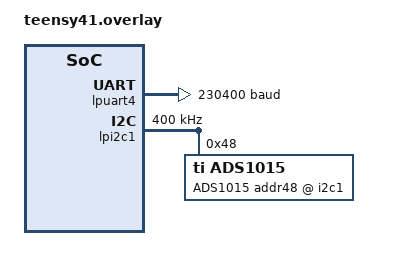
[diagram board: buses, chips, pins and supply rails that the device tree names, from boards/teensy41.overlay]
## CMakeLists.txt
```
# Author: Hyunseo Park
#
# Description:
#
cmake_minimum_required(VERSION 3.20.0)

find_package(Zephyr REQUIRED HINTS $ENV{ZEPHYR_BASE})
project(pcu VERSION 0.0.0)

zephyr_library_link_libraries(kernel)

#project(app LANGUAGES C VERSION 1.0.0)

# if we want separate directory for .hpp
#target_include_directories(app PRIVATE ${CMAKE_BINARY_DIR}/app/include src)

# Entry point
target_sources(app PRIVATE src/main.cpp)

# Subdirectories
# add_subdirectory(src/common)
```

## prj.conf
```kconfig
## Project Musts
CONFIG_CPP=y
## Enabled Zephyr features
## Events 
CONFIG_EVENTS=y
CONFIG_GPIO=y
CONFIG_CAN=y
CONFIG_TEST_RANDOM_GENERATOR=y
CONFIG_I2C=y
CONFIG_GPIO=y
CONFIG_SENSOR=y
# CONFIG_LOG=y
CONFIG_DAC=y
# CONFIG_ADC=y

CONFIG_ADC_ADS1X1X=y

CONFIG_SERIAL=y
CONFIG_UART_ASYNC_API=y
CONFIG_CBPRINTF_FP_A_SUPPORT=y


## CAN
CONFIG_CAN=y

# CONFIG_GPIO=y

# CONFIG_MAIN_STACK_SIZE=4096

## DEBUGGING --------------------------------------
## Usb
CONFIG_USB_DEVICE_STACK=y
# CONFIG_USB_DEVICE_BOS=y
CONFIG_USB_DEVICE_INITIALIZE_AT_BOOT=n
CONFIG_USB_DEVICE_VID=0x16C0
CONFIG_USB_DEVICE_PID=0x0001
CONFIG_USB_DEVICE_MANUFACTURER="Teensy"
CONFIG_USB_DEVICE_PRODUCT="Zephyr - Riptide Lander PCU"
CONFIG_USB_DEVICE_SN="001"

CONFIG_CBPRINTF_FP_SUPPORT=y

# enable to use thread names
CONFIG_THREAD_NAME=y
# CONFIG_DEBUG_THREAD_INFO=y

# CONFIG_TRACING=y
# CONFIG_TRACING_CTF=y
# CONFIG_TRACING_BACKEND_UART=y
# CONFIG_TRACING_BUFFER_SIZE=65536
# CONFIG_TRACING_ASYNC=y
# CONFIG_TRACING_BACKEND_USB=y
# CONFIG_TRACING_HANDLE_HOST_CMD=y

CONFIG_CONSOLE=y
CONFIG_CONSOLE_SUBSYS=y
CONFIG_CONSOLE_GETLINE=y

## uart logging, usb reset through uart
CONFIG_UART_CONSOLE=y
CONFIG_UART_LINE_CTRL=y

# fsm_console_uart

# CONFIG_DEVICE_SHELL=y

# CONFIG_STATS=y
# CONFIG_STATS_NAMES=y
# CONFIG_STATS_SHELL=y
# CONFIG_CAN_STATS=y


### Logging
CONFIG_LOG=y
CONFIG_LOG_MODE_DEFERRED=y
CONFIG_LOG_BACKEND_UART=y
```

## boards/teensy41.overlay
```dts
/ {
	chosen {
		zephyr,console = &lpuart4;
	};

	aliases {
		ads1015device = &i2c1ads48;
	};
};

// pin 7/8
&lpuart4 {
	status = "okay";
	current-speed = < 230400 >;
};

&lpi2c1 {
	status = "okay";
	clock-frequency = <I2C_BITRATE_FAST>;

	i2c1ads48:ads1015@48 {
		compatible = "ti,ads1015";
		status = "okay";
		reg = <0x48>;
		label = "ADS1015 addr48 @ i2c1";
		#io-channel-cells = <1>;
		#address-cells = <1>;
		#size-cells = <0>;
	};
};
```

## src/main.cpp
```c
#include <zephyr/kernel.h>
#include <zephyr/device.h>
#include <zephyr/drivers/i2c.h>

#include "ads1x15.h"
#include "ads1115_defs.h"

// i2c adc devices
struct i2c_dt_spec ads_i2c = I2C_DT_SPEC_GET(DT_ALIAS(ads1015device));

int main_thread(void)
{
    int ret;

    if (!device_is_ready(ads_i2c.bus))
    {
        printk("the i2c bus for the ads1015 is not ready\n");
        return -1;
    }

    while (true)
    {
        // send configuration to ads1015
        ret = ADS1x15_set_config(
            &ads_i2c,
            (ADS1115_REG_CONFIG_MUX_DIFF_0_1 |
             ADS1115_REG_CONFIG_OS_SINGLE |
             ADS1115_REG_CONFIG_PGA_6_144V |
             ADS1115_REG_CONFIG_DR_860SPS |
             ADS1115_REG_CONFIG_MODE_CONTIN |
             ADS1115_REG_CONFIG_CMODE_TRAD |
             ADS1115_REG_CONFIG_CPOL_ACTVLOW |
             ADS1115_REG_CONFIG_CLAT_NONLAT |
             ADS1115_REG_CONFIG_CQUE_1CONV));
        if (ret != 0)
            return 1;

        // wait for data
        k_sleep(K_MSEC(100));

        int16_t value = ADS1x15_read(&ads_i2c);
        double voltage = value * (6.144 / (32768));
        printk("channel 1: %lf", voltage);
    }

    return 0;
}

K_THREAD_DEFINE(thread_main, 40960, main_thread, NULL, NULL, NULL, 1, 0, 0);
```

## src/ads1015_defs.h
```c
#ifndef ADS1015_DEFS_H
#define ADS1015_DEFS_H

#define ADS1015_MAXCONVERSIONDELAY (8) 

/*=========================================================================
    POINTER REGISTER
    -----------------------------------------------------------------------*/
#define ADS1015_REG_POINTER_MASK		  (0x03)	///< Point mask
#define ADS1015_REG_POINTER_CONVERT		(0x00)	///< Conversion
#define ADS1015_REG_POINTER_CONFIG		(0x01)	///< Configuration
#define ADS1015_REG_POINTER_LOWTHRESH	(0x02)	///< Low threshold
#define ADS1015_REG_POINTER_HITHRESH	(0x03)	///< High threshold

/*=========================================================================
    CONFIG REGISTER
    -----------------------------------------------------------------------*/
#define ADS1015_REG_CONFIG_OS_MASK		(0x8000) ///< OS Mask
#define ADS1015_REG_CONFIG_OS_SINGLE	(0x8000) ///< Write: Set to start a single-conversion
#define ADS1015_REG_CONFIG_OS_BUSY		(0x0000) ///< Read: Bit = 0 when conversion is in progress
#define ADS1015_REG_CONFIG_OS_NOTBUSY	(0x8000) ///< Read: Bit = 1 when device is not performing a conversion

#define ADS1015_REG_CONFIG_MUX_MASK 	  (0x7000) ///< Mux Mask
#define ADS1015_REG_CONFIG_MUX_DIFF_0_1	(0x0000) ///< Differential P = AIN0, N = AIN1 (default)
#define ADS1015_REG_CONFIG_MUX_DIFF_0_3	(0x1000) ///< Differential P = AIN0, N = AIN3
#define ADS1015_REG_CONFIG_MUX_DIFF_1_3	(0x2000) ///< Differential P = AIN1, N = AIN3
#define ADS1015_REG_CONFIG_MUX_DIFF_2_3	(0x3000) ///< Differential P = AIN2, N = AIN3

#define ADS1015_REG_CONFIG_MUX_SINGLE_0 (0x4000) ///< Single-ended AIN0
#define ADS1015_REG_CONFIG_MUX_SINGLE_1 (0x5000) ///< Single-ended AIN1
#define ADS1015_REG_CONFIG_MUX_SINGLE_2 (0x6000) ///< Single-ended AIN2
#define ADS1015_REG_CONFIG_MUX_SINGLE_3 (0x7000) ///< Single-ended AIN3


// The ADC input range (or gain) can be changed via the following
// functions, but be careful never to exceed VDD +0.3V max, or to
// exceed the upper and lower limits if you adjust the input range!
// Setting these values incorrectly may destroy your ADC!
//                                                                							ADS1015
//                                                                							-------
// ADS1015_setGain(&adc1115, GAIN_TWOTHIRDS);  // 2/3x gain +/- 6.144V  1 bit = 0.1875mV
// ADS1015_setGain(&adc1115, GAIN_ONE);        // 1x gain   +/- 4.096V  1 bit = 0.125mV
// ADS1015_setGain(&adc1115, GAIN_TWO);        // 2x gain   +/- 2.048V  1 bit = 0.0625mV	(default)
// ADS1015_setGain(&adc1115, GAIN_FOUR);       // 4x gain   +/- 1.024V  1 bit = 0.03125mV
// ADS1015_setGain(&adc1115, GAIN_EIGHT);      // 8x gain   +/- 0.512V  1 bit = 0.015625mV
// ADS1015_setGain(&adc1115, GAIN_SIXTEEN);    // 16x gain  +/- 0.256V  1 bit = 0.0078125mV

#define ADS1015_REG_CONFIG_PGA_MASK		  (0x0E00) ///< PGA Mask
#define ADS1015_REG_CONFIG_PGA_6_144V 	(0x0000) ///< +/-6.144V range = Gain 2/3
#define ADS1015_REG_CONFIG_PGA_4_096V 	(0x0200) ///< +/-4.096V range = Gain 1
#define ADS1015_REG_CONFIG_PGA_2_048V	  (0x0400) ///< +/-2.048V range = Gain 2 (default)
#define ADS1015_REG_CONFIG_PGA_1_024V 	(0x0600) ///< +/-1.024V range = Gain 4
#define ADS1015_REG_CONFIG_PGA_0_512V 	(0x0800) ///< +/-0.512V range = Gain 8
#define ADS1015_REG_CONFIG_PGA_0_256V 	(0x0A00) ///< +/-0.256V range = Gain 16

#define ADS1015_REG_CONFIG_MODE_MASK	  (0x0100)   ///< Mode Mask
#define ADS1015_REG_CONFIG_MODE_CONTIN	(0x0000) ///< Continuous conversion mode
#define ADS1015_REG_CONFIG_MODE_SINGLE	(0x0100) ///< Power-down single-shot mode (default)

#define ADS1015_REG_CONFIG_DR_MASK		(0x00E0)	///< Data Rate Mask
#define ADS1015_REG_CONFIG_DR_128SPS		(0x0000)	///< 8 samples per second
#define ADS1015_REG_CONFIG_DR_250SPS		(0x0020)	///< 16 samples per second
#define ADS1015_REG_CONFIG_DR_490SPS		(0x0040)	///< 32 samples per second
#define ADS1015_REG_CONFIG_DR_920SPS		(0x0060)	///< 64 samples per second
#define ADS1015_REG_CONFIG_DR_1600SPS	(0x0080)	///< 128 samples per second (default)
#define ADS1015_REG_CONFIG_DR_2400SPS	(0x00A0)	///< 250 samples per second
#define ADS1015_REG_CONFIG_DR_3300SPS	(0x00C0)	///< 475 samples per second

#define ADS1015_REG_CONFIG_CMODE_MASK 	(0x0010) ///< CMode Mask
#define ADS1015_REG_CONFIG_CMODE_TRAD 	(0x0000) ///< Traditional comparator with hysteresis (default)
#define ADS1015_REG_CONFIG_CMODE_WINDOW (0x0010) ///< Window comparator

#define ADS1015_REG_CONFIG_CPOL_MASK	  (0x0008) ///< CPol Mask
#define ADS1015_REG_CONFIG_CPOL_ACTVLOW	(0x0000) ///< ALERT/RDY pin is low when active (default)
#define ADS1015_REG_CONFIG_CPOL_ACTVHI	(0x0008) ///< ALERT/RDY pin is high when active

#define ADS1015_REG_CONFIG_CLAT_MASK	  (0x0004) ///< Determines if ALERT/RDY pin latches once asserted
#define ADS1015_REG_CONFIG_CLAT_NONLAT	(0x0000) ///< Non-latching comparator (default)
#define ADS1015_REG_CONFIG_CLAT_LATCH	  (0x0004) ///< Latching comparator

#define ADS1015_REG_CONFIG_CQUE_MASK	(0x0003) ///< CQue Mask
#define ADS1015_REG_CONFIG_CQUE_1CONV	(0x0000) ///< Assert ALERT/RDY after one conversions
#define ADS1015_REG_CONFIG_CQUE_2CONV	(0x0001) ///< Assert ALERT/RDY after two conversions
#define ADS1015_REG_CONFIG_CQUE_4CONV	(0x0002) ///< Assert ALERT/RDY after four conversions
#define ADS1015_REG_CONFIG_CQUE_NONE	(0x0003) ///< Disable the comparator and put ALERT/RDY in high state (default)
/*=========================================================================*/

#endif
```

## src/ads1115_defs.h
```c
#ifndef ADS1115_DEFS_H
#define ADS1115_DEFS_H


#define ADS1115_MAXCONVERSIONDELAY (8) 

/*=========================================================================
    I2C ADDRESS/BITS
    -----------------------------------------------------------------------*/
#define ADS1115_ADDRESS (0x48) ///< 100 1000 (ADDR = GND)
/*=========================================================================*/

/*=========================================================================
    CONVERSION DELAY (in mS)
    -----------------------------------------------------------------------*/
//#define ADS1115_CONVERSIONDELAY (1165) ///< Minimum Conversion Delay: usec ( Maximum Sample Rate: 860 SPS )
#define ADS1115_CONVERSIONDELAY (2) ///< Minimum Conversion Delay: msec ( Maximum Sample Rate: 860 SPS )
/*=========================================================================*/

/*=========================================================================
    POINTER REGISTER
    -----------------------------------------------------------------------*/
#define ADS1115_REG_POINTER_MASK		  (0x03)	///< Point mask
#define ADS1115_REG_POINTER_CONVERT		(0x00)	///< Conversion
#define ADS1115_REG_POINTER_CONFIG		(0x01)	///< Configuration
#define ADS1115_REG_POINTER_LOWTHRESH	(0x02)	///< Low threshold
#define ADS1115_REG_POINTER_HITHRESH	(0x03)	///< High threshold
/*=========================================================================*/

/*=========================================================================
    CONFIG REGISTER
    -----------------------------------------------------------------------*/
#define ADS1115_REG_CONFIG_OS_MASK		(0x8000) ///< OS Mask
#define ADS1115_REG_CONFIG_OS_SINGLE	(0x8000) ///< Write: Set to start a single-conversion
#define ADS1115_REG_CONFIG_OS_BUSY		(0x0000) ///< Read: Bit = 0 when conversion is in progress
#define ADS1115_REG_CONFIG_OS_NOTBUSY	(0x8000) ///< Read: Bit = 1 when device is not performing a conversion

#define ADS1115_REG_CONFIG_MUX_MASK 	  (0x7000) ///< Mux Mask
#define ADS1115_REG_CONFIG_MUX_DIFF_0_1	(0x0000) ///< Differential P = AIN0, N = AIN1 (default)
#define ADS1115_REG_CONFIG_MUX_DIFF_0_3	(0x1000) ///< Differential P = AIN0, N = AIN3
#define ADS1115_REG_CONFIG_MUX_DIFF_1_3	(0x2000) ///< Differential P = AIN1, N = AIN3
#define ADS1115_REG_CONFIG_MUX_DIFF_2_3	(0x3000) ///< Differential P = AIN2, N = AIN3

#define ADS1115_REG_CONFIG_MUX_SINGLE_0 (0x4000) ///< Single-ended AIN0
#define ADS1115_REG_CONFIG_MUX_SINGLE_1 (0x5000) ///< Single-ended AIN1
#define ADS1115_REG_CONFIG_MUX_SINGLE_2 (0x6000) ///< Single-ended AIN2
#define ADS1115_REG_CONFIG_MUX_SINGLE_3 (0x7000) ///< Single-ended AIN3


// The ADC input range (or gain) can be changed via the following
// functions, but be careful never to exceed VDD +0.3V max, or to
// exceed the upper and lower limits if you adjust the input range!
// Setting these values incorrectly may destroy your ADC!
//                                                                							ADS1115
//                                                                							-------
// ADS1115_setGain(&adc1115, GAIN_TWOTHIRDS);  // 2/3x gain +/- 6.144V  1 bit = 0.1875mV
// ADS1115_setGain(&adc1115, GAIN_ONE);        // 1x gain   +/- 4.096V  1 bit = 0.125mV
// ADS1115_setGain(&adc1115, GAIN_TWO);        // 2x gain   +/- 2.048V  1 bit = 0.0625mV	(default)
// ADS1115_setGain(&adc1115, GAIN_FOUR);       // 4x gain   +/- 1.024V  1 bit = 0.03125mV
// ADS1115_setGain(&adc1115, GAIN_EIGHT);      // 8x gain   +/- 0.512V  1 bit = 0.015625mV
// ADS1115_setGain(&adc1115, GAIN_SIXTEEN);    // 16x gain  +/- 0.256V  1 bit = 0.0078125mV

#define ADS1115_REG_CONFIG_PGA_MASK		  (0x0E00) ///< PGA Mask
#define ADS1115_REG_CONFIG_PGA_6_144V 	(0x0000) ///< +/-6.144V range = Gain 2/3
#define ADS1115_REG_CONFIG_PGA_4_096V 	(0x0200) ///< +/-4.096V range = Gain 1
#define ADS1115_REG_CONFIG_PGA_2_048V	  (0x0400) ///< +/-2.048V range = Gain 2 (default)
#define ADS1115_REG_CONFIG_PGA_1_024V 	(0x0600) ///< +/-1.024V range = Gain 4
#define ADS1115_REG_CONFIG_PGA_0_512V 	(0x0800) ///< +/-0.512V range = Gain 8
#define ADS1115_REG_CONFIG_PGA_0_256V 	(0x0A00) ///< +/-0.256V range = Gain 16

#define ADS1115_REG_CONFIG_MODE_MASK	  (0x0100)   ///< Mode Mask
#define ADS1115_REG_CONFIG_MODE_CONTIN	(0x0000) ///< Continuous conversion mode
#define ADS1115_REG_CONFIG_MODE_SINGLE	(0x0100) ///< Power-down single-shot mode (default)

#define ADS1115_REG_CONFIG_DR_MASK		(0x00E0)	///< Data Rate Mask
#define ADS1115_REG_CONFIG_DR_8SPS		(0x0000)	///< 8 samples per second
#define ADS1115_REG_CONFIG_DR_16SPS		(0x0020)	///< 16 samples per second
#define ADS1115_REG_CONFIG_DR_32SPS		(0x0040)	///< 32 samples per second
#define ADS1115_REG_CONFIG_DR_64SPS		(0x0060)	///< 64 samples per second
#define ADS1115_REG_CONFIG_DR_128SPS	(0x0080)	///< 128 samples per second (default)
#define ADS1115_REG_CONFIG_DR_250SPS	(0x00A0)	///< 250 samples per second
#define ADS1115_REG_CONFIG_DR_475SPS	(0x00C0)	///< 475 samples per second
#define ADS1115_REG_CONFIG_DR_860SPS	(0x00E0)	///< 860 samples per second

#define ADS1115_REG_CONFIG_CMODE_MASK 	(0x0010) ///< CMode Mask
#define ADS1115_REG_CONFIG_CMODE_TRAD 	(0x0000) ///< Traditional comparator with hysteresis (default)
#define ADS1115_REG_CONFIG_CMODE_WINDOW (0x0010) ///< Window comparator

#define ADS1115_REG_CONFIG_CPOL_MASK	  (0x0008) ///< CPol Mask
#define ADS1115_REG_CONFIG_CPOL_ACTVLOW	(0x0000) ///< ALERT/RDY pin is low when active (default)
#define ADS1115_REG_CONFIG_CPOL_ACTVHI	(0x0008) ///< ALERT/RDY pin is high when active

#define ADS1115_REG_CONFIG_CLAT_MASK	  (0x0004) ///< Determines if ALERT/RDY pin latches once asserted
#define ADS1115_REG_CONFIG_CLAT_NONLAT	(0x0000) ///< Non-latching comparator (default)
#define ADS1115_REG_CONFIG_CLAT_LATCH	  (0x0004) ///< Latching comparator

#define ADS1115_REG_CONFIG_CQUE_MASK	(0x0003) ///< CQue Mask
#define ADS1115_REG_CONFIG_CQUE_1CONV	(0x0000) ///< Assert ALERT/RDY after one conversions
#define ADS1115_REG_CONFIG_CQUE_2CONV	(0x0001) ///< Assert ALERT/RDY after two conversions
#define ADS1115_REG_CONFIG_CQUE_4CONV	(0x0002) ///< Assert ALERT/RDY after four conversions
#define ADS1115_REG_CONFIG_CQUE_NONE	(0x0003) ///< Disable the comparator and put ALERT/RDY in high state (default)
/*=========================================================================*/

#endif
```

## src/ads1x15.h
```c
#ifndef ADS1X15_H
#define ADS1X15_H

#include "ads1015_defs.h"
#include <zephyr/kernel.h>
#include <limits.h>
#include <zephyr/sys/byteorder.h>
#include <zephyr/drivers/i2c.h>

/**
 * @brief Set the thresholds for ADS1015 through i2c
 *
 * @param ads_i2c the ads i2c device
 * @param lowerThreshold must be between INT12_MIN and INT12_MAX
 * @param upperThreshold must be between INT12_MIN and INT12_MAX
 * @return if there is any errors while sending i2c
 */
static int ADS1x15_set_thresholds(const struct i2c_dt_spec *ads_i2c, int16_t lowerThreshold, int16_t upperThreshold)
{
    int err;
    uint8_t sendConfigBuff[3];
    int16_t *pConfigData = (int16_t *)&sendConfigBuff[1];

    // set lower threshold for ALRT signal trigger with sendConfigBuff
    sendConfigBuff[0] = ADS1015_REG_POINTER_LOWTHRESH;
    *pConfigData = sys_cpu_to_be16(lowerThreshold);
    err = i2c_write_dt(ads_i2c, sendConfigBuff, 3);
    if (err != 0)
    {
        printk("write i2c error while writing lower threshold\n");
        return -1;
    }

    // set upper threshold for ALRT signal trigger with sendConfigBuff
    sendConfigBuff[0] = ADS1015_REG_POINTER_HITHRESH;
    *pConfigData = sys_cpu_to_be16(upperThreshold);
    err = i2c_write_dt(ads_i2c, sendConfigBuff, 3);
    if (err != 0)
    {
        printk("write i2c error while writing upper threshold\n");
        return -1;
    }
    return 0;
}

static int ADS1x15_set_config(const struct i2c_dt_spec *ads_i2c, uint16_t config_bitmask)
{
    int err;
    uint8_t sendConfigBuff[3];

    sendConfigBuff[0] = ADS1015_REG_POINTER_CONFIG;
    *((int16_t *)&sendConfigBuff[1]) = sys_cpu_to_be16(config_bitmask);

    err = i2c_write_dt(ads_i2c, sendConfigBuff, 3);
    if (err != 0)
    {
        printk("write i2c error\n");
        return -1;
    }
    return 0;
}

/**
 * @brief Reads what's avaliable from ADS1015 currently. Does not check
 * for if data is ready, nor have i2c error handling
 *
 * @param ads_i2c the ads i2c device
 * @return the value that is read from ads1015, between INT12_MIN and INT12_MAX
 */
static int16_t ADS1x15_read(const struct i2c_dt_spec *ads_i2c)
{
    int err;
    static const uint8_t sendDataReqBuff = ADS1015_REG_POINTER_CONVERT;
    err = i2c_write_dt(ads_i2c, &sendDataReqBuff, 1);

    uint8_t rx_bytes[2];
    err = i2c_read_dt(ads_i2c, rx_bytes, 2);
    int16_t value = ((rx_bytes[0] << 8) | rx_bytes[1]);
    return value;
}

#endif
```
